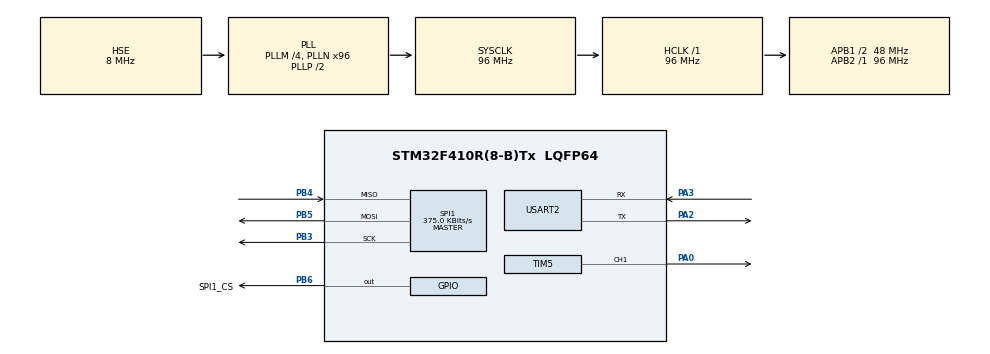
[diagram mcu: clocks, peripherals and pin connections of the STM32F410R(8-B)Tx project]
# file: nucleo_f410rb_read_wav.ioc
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Dma.Request0=SPI1_RX
Dma.Request1=SPI1_TX
Dma.Request2=TIM5_CH1
Dma.SPI1_RX.0.Direction=DMA_PERIPH_TO_MEMORY
Dma.SPI1_RX.0.FIFOMode=DMA_FIFOMODE_DISABLE
Dma.SPI1_RX.0.Instance=DMA2_Stream2
Dma.SPI1_RX.0.MemDataAlignment=DMA_MDATAALIGN_BYTE
Dma.SPI1_RX.0.MemInc=DMA_MINC_ENABLE
Dma.SPI1_RX.0.Mode=DMA_NORMAL
Dma.SPI1_RX.0.PeriphDataAlignment=DMA_PDATAALIGN_BYTE
Dma.SPI1_RX.0.PeriphInc=DMA_PINC_DISABLE
Dma.SPI1_RX.0.Priority=DMA_PRIORITY_HIGH
Dma.SPI1_TX.1.Direction=DMA_MEMORY_TO_PERIPH
Dma.SPI1_TX.1.FIFOMode=DMA_FIFOMODE_DISABLE
Dma.SPI1_TX.1.Instance=DMA2_Stream3
Dma.SPI1_TX.1.MemDataAlignment=DMA_MDATAALIGN_BYTE
Dma.SPI1_TX.1.MemInc=DMA_MINC_ENABLE
Dma.SPI1_TX.1.Mode=DMA_NORMAL
Dma.SPI1_TX.1.PeriphDataAlignment=DMA_PDATAALIGN_BYTE
Dma.SPI1_TX.1.PeriphInc=DMA_PINC_DISABLE
Dma.SPI1_TX.1.Priority=DMA_PRIORITY_LOW
Dma.TIM5_CH1.2.Direction=DMA_MEMORY_TO_PERIPH
Dma.TIM5_CH1.2.FIFOMode=DMA_FIFOMODE_DISABLE
Dma.TIM5_CH1.2.Instance=DMA1_Stream2
Dma.TIM5_CH1.2.MemDataAlignment=DMA_MDATAALIGN_WORD
Dma.TIM5_CH1.2.MemInc=DMA_MINC_ENABLE
Dma.TIM5_CH1.2.Mode=DMA_CIRCULAR
Dma.TIM5_CH1.2.PeriphDataAlignment=DMA_PDATAALIGN_WORD
Dma.TIM5_CH1.2.PeriphInc=DMA_PINC_DISABLE
Dma.TIM5_CH1.2.Priority=DMA_PRIORITY_LOW
FATFS._USE_LABEL=1
FATFS._USE_LFN=1
Mcu.Family=STM32F4
Mcu.Name=STM32F410R(8-B)Tx
Mcu.Package=LQFP64
NVIC.DMA1_Stream2_IRQn=true\:0\:0\:false\:false\:true\:false\:true\:true
NVIC.DMA2_Stream2_IRQn=true\:0\:0\:false\:false\:true\:false\:true\:true
NVIC.DMA2_Stream3_IRQn=true\:0\:0\:false\:false\:true\:false\:true\:true
NVIC.PriorityGroup=NVIC_PRIORITYGROUP_4
NVIC.SPI1_IRQn=true\:0\:0\:false\:false\:true\:true\:true\:true
NVIC.TIM5_IRQn=true\:0\:0\:false\:false\:true\:true\:true\:true
NVIC.USART2_IRQn=true\:0\:0\:false\:false\:true\:false\:true\:true
PA0-WKUP.GPIO_Speed=GPIO_SPEED_FREQ_HIGH
PA0-WKUP.Signal=S_TIM5_CH1
PA13.Mode=Serial_Wire
PA13.Signal=SYS_JTMS-SWDIO
PA14.Mode=Serial_Wire
PA14.Signal=SYS_JTCK-SWCLK
PA2.Mode=Asynchronous
PA2.Signal=USART2_TX
PA3.Mode=Asynchronous
PA3.Signal=USART2_RX
PB3.Mode=Full_Duplex_Master
PB3.Signal=SPI1_SCK
PB4.Mode=Full_Duplex_Master
PB4.Signal=SPI1_MISO
PB5.Mode=Full_Duplex_Master
PB5.Signal=SPI1_MOSI
PB6.GPIO_Label=SPI1_CS
PB6.GPIO_Speed=GPIO_SPEED_FREQ_VERY_HIGH
PB6.PinState=GPIO_PIN_SET
PB6.Signal=GPIO_Output
PH0\ -\ OSC_IN.Mode=HSE-External-Oscillator
PH0\ -\ OSC_IN.Signal=RCC_OSC_IN
PH1\ -\ OSC_OUT.Mode=HSE-External-Oscillator
PH1\ -\ OSC_OUT.Signal=RCC_OSC_OUT
ProjectManager.HeapSize=0x200
ProjectManager.StackSize=0x400
ProjectManager.TargetToolchain=STM32CubeIDE
RCC.48MHZClocksFreq_Value=48000000
RCC.AHBFreq_Value=96000000
RCC.APB1CLKDivider=RCC_HCLK_DIV2
RCC.APB1Freq_Value=48000000
RCC.APB1TimFreq_Value=96000000
RCC.APB2Freq_Value=96000000
RCC.APB2TimFreq_Value=96000000
RCC.CortexFreq_Value=96000000
RCC.HCLKFreq_Value=96000000
RCC.HSE_VALUE=8000000
RCC.HSI_VALUE=16000000
RCC.LSE_VALUE=32768
RCC.PLLM=4
RCC.PLLN=96
RCC.PLLSourceVirtual=RCC_PLLSOURCE_HSE
RCC.SYSCLKFreq_VALUE=96000000
RCC.SYSCLKSource=RCC_SYSCLKSOURCE_PLLCLK
RCC.VCOOutputFreq_Value=192000000
SH.S_TIM5_CH1.0=TIM5_CH1,PWM Generation1 CH1
SPI1.BaudRatePrescaler=SPI_BAUDRATEPRESCALER_256
SPI1.CalculateBaudRate=375.0 KBits/s
SPI1.Direction=SPI_DIRECTION_2LINES
SPI1.Mode=SPI_MODE_MASTER
SPI1.VirtualType=VM_MASTER
TIM5.AutoReloadPreload=TIM_AUTORELOAD_PRELOAD_DISABLE
TIM5.Channel-PWM\ Generation1\ CH1=TIM_CHANNEL_1
TIM5.Period=2000-1
TIM5.Prescaler=1-1
USART2.VirtualMode=VM_ASYNC
VP_FATFS_VS_Generic.Mode=User_defined
board=custom

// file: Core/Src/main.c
/* USER CODE BEGIN Header */
/**
  ******************************************************************************
  * @file           : main.c
  * @brief          : Main program body
  ******************************************************************************
  * @attention
  *
  * Copyright (c) 2026 STMicroelectronics.
  * All rights reserved.
  *
  * This software is licensed under terms that can be found in the LICENSE file
  * in the root directory of this software component.
  * If no LICENSE file comes with this software, it is provided AS-IS.
  *
  ******************************************************************************
  */
/* USER CODE END Header */
#include "main.h"
#include "fatfs.h"

/* USER CODE BEGIN Includes */
#include <stdio.h>
#include <string.h>
#include <stdlib.h>

#include "ff.h"
#include "ffconf.h"

#include "sd_diskio_spi.h"
#include "sd_functions.h"
#include "sd_spi.h"

#include "sd_wav.h"

/* USER CODE END Includes */

SPI_HandleTypeDef hspi1;
DMA_HandleTypeDef hdma_spi1_rx;
DMA_HandleTypeDef hdma_spi1_tx;

TIM_HandleTypeDef htim5;
DMA_HandleTypeDef hdma_tim5_ch1;

UART_HandleTypeDef huart2;

/* USER CODE BEGIN PV */
uint8_t riff_header_chunk[12];

uint8_t chunk_id[4];
uint8_t chunk_size[4]; // Array to store chunk size in little-endian mode

// Decimal representations
uint32_t file_size_dec;    	   // Total file size
uint32_t fmt_size_dec;         // fmt chunk size
uint32_t data_size_dec;        // data chunk size
uint32_t chunk_size_dec;       // Chunk size
uint16_t channels_dec;         // Number of channels
uint32_t sample_rate_dec;      // Sample rate
uint32_t byte_rate_dec;        // Byte rate
uint16_t block_align_dec;      // Block align
uint16_t bytes_per_sample_dec; // Bytes per sample = sample depth / 8

uint8_t audio_fmt[2];
uint8_t channels[2];
uint8_t sample_rate[4];
uint8_t byte_rate[4];
uint8_t block_align[2];
uint8_t sample_depth[2];

const uint8_t exp_fmt[4] = {0x66, 0x6D, 0x74, 0x20};    // "fmt "
const uint8_t exp_data[4] = {0x64, 0x61, 0x74, 0x61};   // "data"
const uint32_t exp_fmt_sz_dec = 16;                  // 16 for standard PCM WAV
const uint8_t exp_audio_fmt[2] = {0x01, 0x00};          // 1 for standard PCM WAV
const uint8_t stereo[2] = {0x02, 0x00};                 // 2 for stereo

uint8_t bufr[12288];          // Array to store PCM data immediately from SD card, give 8 KiB = 8192 B of space
uint32_t ccr[3072];           // Array to store CCR values. The PWM function requires CCR to be a 32-bit integer to work properly.
uint32_t data_bytes_read = 0; // Variable to store the number of bytes read from the data chunk
uint32_t skip = 12;       	  // RIFF chunk is size 12 so this first initialised value skips to the chunk after RIFF
uint32_t skip_fmt = 0;  	  // skip variable to record down the start of the fmt chunk's useful data
uint32_t skip_data = 0; 	  // skip variable to record down the start of the data chunk's useful data
uint32_t ARR;                 // Variable to store ARR value

UINT br;

FIL file; // File variable
const char filename[255] = "dont_stop_believin.wav"; // Music file name
FRESULT res; // Result of file operations with FATFS. Mostly useful for debugging.

// Define an enumeration variable which will tell the code to refill the first or second half of the bufr/ccr array.
// refill_request needs to be volatile because it will be accessed by the interrupt
// This prevents the compiler from trying to cache refill_request in order to "optimise speed"
// volatile forces the compiler to check the original memory location whenever we need refill_request instead of caching it.
enum refill_t {
	REFILL_NONE, REFILL_FIRST, REFILL_SECOND
};

volatile enum refill_t refill_request = REFILL_NONE;

/* USER CODE END PV */

void SystemClock_Config(void);
static void MX_GPIO_Init(void);
static void MX_DMA_Init(void);
static void MX_SPI1_Init(void);
static void MX_USART2_UART_Init(void);
static void MX_TIM5_Init(void);

/* USER CODE BEGIN 0 */
// Define a custom function to print to the console via UART
int _write(int fd, unsigned char *buf, int len) {
  if (fd == 1 || fd == 2) {                     // stdout or stderr ?
    HAL_UART_Transmit(&huart2, buf, len, 999);  // Print to the UART
  }
  return len;
}

// Define a function to convert a little-endian (le) byte string into the correct integer representation
static int32_t pcm_le_signed32(uint8_t *bufr, uint16_t bytes_per_sample_dec)
{
	// Case 8 bits sample depth. We can deal with converting unsigned 8 bit to signed 32 bit directly.
	// We want it to actually be 32 bit signed
	// Converting an unsigned to signed is simply a matter of shifting the offset
	if (bytes_per_sample_dec == 1)
	{
		return (int32_t) bufr[0] - 128;
	}

	// Initialise a return variable which will typecast to change later
	// temp is not yet the PCM amplitude
	// But the RETURNED value is the PCM amplitude
	uint32_t temp = 0;

	for (int k = 0; k < bytes_per_sample_dec; k++)
	{
		// Left shift the bytes accordingly
		temp |= (uint32_t) bufr[k] << (8 * k);
	}

	// Case 16 bits sample depth. Simply re-interpret the buffer contents as a 32 bit signed integer
	if (bytes_per_sample_dec == 2)
	{
		return (int32_t) (int16_t) temp;
	}

	// Case 24 bits sample depth. There is no int24_t so we have to do this manually
	// Check if the sign bit is set in a would-have-been signed 24 bit representation
	if (temp & 0x00800000) // 0x00800000 is 00000000 10000000 00000000 00000000
	{
		// If so, we simply ensure the most significant byte is full of 1 bits to get the correct signed 32 bit representation
		temp |= 0xFF000000;
	}

	return (int32_t) temp;
}

// Define a function to convert PCM amplitude to CCR value. CCR/ARR = CCR/2000 is the duty cycle.
// ARR defines the number of duty cycle levels available, and thus the resolution.
// Since PWM frequency is 48 kHz, and it is given by f_pwm = (APB TIM1 Clock)/(Prescaler * ARR), ARR cannot be too big so 2000 is the highest practical limit
// Hence only need to store CCR as a uint16_t.
static uint32_t pcm_to_ccr(int32_t pcm_amp, const uint32_t ARR, uint16_t bytes_per_sample_dec)
{
	// Find the maximum possible (signed) amplitude for each sample depth
	int32_t max_amp = (1 << (bytes_per_sample_dec * 8 - 1)) - 1;

	// A signed integer's range is [-(max_amp + 1), max_amp]
	// So we need to shift it up to [0, 2*max_amp + 1], i.e. shift all upwards by max_amp + 1
	int64_t centred_pcm_amp = (int64_t) pcm_amp + max_amp + 1;

	// Finally, scale the centered_pcm_amp to the ARR
	// CCR = centered_pcm_amp/(2*max_amp + 1) * ARR
	int64_t ccr = (centred_pcm_amp * ARR)/(2*max_amp + 1);

	return (uint32_t) ccr;
}

// Define a function to repeatedly call to read PCM data from the SD card
// When doing this, we cannot keep calling sd_wav_read because that function increases user readability but it's slow
// It has to open and close the file each time it's called, which is not efficient
// So for this, just have all the FATFS functions here in main.c
// Have f_lseek and f_read in process_pcm, and f_open and f_close in main function
static void process_pcm(uint8_t mode, const uint32_t ARR) {

	uint32_t samples = 0;    // Variable to store the number of PCM samples in the buffer to process
	uint16_t sample_idx = 0; // Variable to store the current sample index among the data in the buffer array

	// Ensure we are not near the end of the file yet
	if ((data_bytes_read + (sizeof(bufr)/2)) > data_size_dec)
	{
		// Special case for reading the end of the file
		uint32_t bytes_left = data_size_dec - data_bytes_read;

		// If this happens when we are trying to edit the first half of the buffer and ccr
		if (mode == 1)
		{
			// Only add audio data to the beginning parts of the buffer
			res = f_lseek(&file, skip_data);

			res = f_read(&file, bufr, bytes_left, &br);
			if (res != FR_OK) {
				printf("f_read failed with code: %d\r\n", res);
				f_close(&file);
				return;
			}

			data_bytes_read += bytes_left;
			skip_data += bytes_left;

			// But the end parts of the buffer still have data from the previous iteration
			// So just replace them zeros
			for (int i = bytes_left; i < (sizeof(bufr) / 2); i++)
			{
				bufr[i] = 0;
			}

			samples = sizeof(bufr) / 2 / block_align_dec;

			// We first convert each set of <no. of channels * sample depth> bytes into one (signed) integer representing a mono audio voltage

			// The key is that in the buffer, element starts that are divisible by block align are left audio
			// Element starts that are not divisible by block align are right audio
			// And then of course, bear in mind the sample depth which determines how many bytes/elements to encode one left/right sample

			// Loop across each sample, joint between left and right
			// i is the sample number
			for (int i = 0; i < samples; i++)
			{
				sample_idx = i * block_align_dec;

				// Consider both the left and right samples
				int32_t left  = pcm_le_signed32(&bufr[sample_idx], bytes_per_sample_dec);
				int32_t right = pcm_le_signed32(&bufr[sample_idx + bytes_per_sample_dec], bytes_per_sample_dec);

				// Calculate average of the left and right.
				int32_t pcm_amp = (int32_t)(((int64_t)left + (int64_t)right) / 2);

				// B. We then convert the PCM samples into CCR values
				ccr[i] = pcm_to_ccr(pcm_amp, ARR, bytes_per_sample_dec);
			}

		} else if (mode == 2)
		{
			// Only add audio data to the beginning parts of the buffer
			res = f_lseek(&file, skip_data);

			res = f_read(&file, bufr + (sizeof(bufr)/2), bytes_left, &br);
			if (res != FR_OK) {
				printf("f_read failed with code: %d\r\n", res);
				f_close(&file);
				return;
			}

			data_bytes_read += bytes_left;
			skip_data += bytes_left;

			// But the end parts of the buffer still have data from the previous iteration
			// So just replace them zeros
			for (int i = bytes_left; i < (sizeof(bufr) / 2); i++)
			{
				bufr[i + (sizeof(bufr)/2)] = 0;
			}

			samples = sizeof(bufr) / 2 / block_align_dec;

			// We first convert each set of <no. of channels * sample depth> bytes into one (signed) integer representing a mono audio voltage

			// The key is that in the buffer, element starts that are divisible by block align are left audio
			// Element starts that are not divisible by block align are right audio
			// And then of course, bear in mind the sample depth which determines how many bytes/elements to encode one left/right sample

			// Loop across each sample, joint between left and right
			// i is the sample number
			for (int i = 0; i < samples; i++)
			{
				sample_idx = i * block_align_dec;

				// Consider both the left and right samples
				int32_t left  = pcm_le_signed32(&bufr[sample_idx] + (sizeof(bufr)/2), bytes_per_sample_dec);
				int32_t right = pcm_le_signed32(&bufr[sample_idx + bytes_per_sample_dec] + (sizeof(bufr)/2), bytes_per_sample_dec);

				// Calculate average of the left and right.
				int32_t pcm_amp = (int32_t)(((int64_t)left + (int64_t)right) / 2);

				// B. We then convert the PCM samples into CCR values
				// + samples to only edit the second half
				ccr[i + samples] = pcm_to_ccr(pcm_amp, ARR, bytes_per_sample_dec);
			}
		}
	} else
	{
		// Mode 1 = Case of wanting to replace the first half of the buffer, called by HalfCpltCallback or initial call
		if (mode == 1) {
			res = f_lseek(&file, skip_data);

			res = f_read(&file, bufr, sizeof(bufr)/2, &br);
			if (res != FR_OK) {
				printf("f_read failed with code: %d\r\n", res);
				f_close(&file);
				return;
			}

			data_bytes_read += sizeof(bufr)/2;
			skip_data += sizeof(bufr)/2;

			samples = sizeof(bufr) / 2 / block_align_dec;

			// We first convert each set of <no. of channels * sample depth> bytes into one (signed) integer representing a mono audio voltage

			// The key is that in the buffer, element starts that are divisible by block align are left audio
			// Element starts that are not divisible by block align are right audio
			// And then of course, bear in mind the sample depth which determines how many bytes/elements to encode one left/right sample

			// Loop across each sample, joint between left and right
			// i is the sample number
			for (int i = 0; i < samples; i++)
			{
				sample_idx = i * block_align_dec;

				// Consider both the left and right samples
				int32_t left  = pcm_le_signed32(&bufr[sample_idx], bytes_per_sample_dec);
				int32_t right = pcm_le_signed32(&bufr[sample_idx + bytes_per_sample_dec], bytes_per_sample_dec);

				// Calculate average of the left and right.
				int32_t pcm_amp = (int32_t)(((int64_t)left + (int64_t)right) / 2);

				// B. We then convert the PCM samples into CCR values
				ccr[i] = pcm_to_ccr(pcm_amp, ARR, bytes_per_sample_dec);
			}

		// Mode 2 = Case of wanting to replace the second half of the buffer, called by CpltCallback or initial call
		} else if (mode == 2) {
			// + (sizeof(bufr)/2) to only edit the second half
			res = f_lseek(&file, skip_data);

			res = f_read(&file, bufr + (sizeof(bufr)/2), sizeof(bufr)/2, &br);
			if (res != FR_OK) {
				printf("f_read failed with code: %d\r\n", res);
				f_close(&file);
				return;
			}

			data_bytes_read += sizeof(bufr)/2;
			skip_data += sizeof(bufr)/2;

			samples = sizeof(bufr) / 2 / block_align_dec;

			// We first convert each set of <no. of channels * sample depth> bytes into one (signed) integer representing a mono audio voltage

			// The key is that in the buffer, element starts that are divisible by block align are left audio
			// Element starts that are not divisible by block align are right audio
			// And then of course, bear in mind the sample depth which determines how many bytes/elements to encode one left/right sample

			// Loop across each sample, joint between left and right
			// i is the sample number
			for (int i = 0; i < samples; i++)
			{
				sample_idx = i * block_align_dec;

				// Consider both the left and right samples
				int32_t left  = pcm_le_signed32(&bufr[sample_idx] + (sizeof(bufr)/2), bytes_per_sample_dec);
				int32_t right = pcm_le_signed32(&bufr[sample_idx + bytes_per_sample_dec] + (sizeof(bufr)/2), bytes_per_sample_dec);

				// Calculate average of the left and right.
				int32_t pcm_amp = (int32_t)(((int64_t)left + (int64_t)right) / 2);

				// B. We then convert the PCM samples into CCR values
				// + samples to only edit the second half
				ccr[i + samples] = pcm_to_ccr(pcm_amp, ARR, bytes_per_sample_dec);
			}
		}
	}
}

// Function called when first half of the array has been transmitted to PWM
// We thus need to change the contents of the first half of the buffer and ccr
void HAL_TIM_PWM_PulseFinishedHalfCpltCallback (TIM_HandleTypeDef * htim) {
	if (htim->Instance == TIM5)
	{
		refill_request = REFILL_FIRST;
	}

}

// Function called when all of the array, and therefore the second half of the array, has been transmitted to PWM
// We thus need to change the contents of the second half of the buffer and ccr
void HAL_TIM_PWM_PulseFinishedCallback (TIM_HandleTypeDef * htim) {
	if (htim->Instance == TIM5)
	{
		refill_request = REFILL_SECOND;
	}
}

/* USER CODE END 0 */

int main(void)
{

  /* MCU Configuration--------------------------------------------------------*/

  /* Reset of all peripherals, Initializes the Flash interface and the Systick. */
  HAL_Init();

  /* Configure the system clock */
  SystemClock_Config();

  /* Initialize all configured peripherals */
  MX_GPIO_Init();
  MX_DMA_Init();
  MX_SPI1_Init();
  MX_USART2_UART_Init();
//  MX_FATFS_Init();
  MX_TIM5_Init();
  /* USER CODE BEGIN 2 */

  // This is where we change the Baud Rate Prescaler to make the SD card read/write speed faster

	// Temporarily disable the SPI if we want to change the baud rate
	__HAL_SPI_DISABLE(&hspi1);

	// Reduce the prescaler to increase the baud rate
	// If we want to send PWM signals at 48 kHz (which is equal to the sample rate)
	// And if one sample is 4 bytes (2 bytes for left and 2 bytes for right channel)
	// Then we need to read the SD card at an SPI baud rate of 192 KBps = 1.536 Mbps
	// Since SPI1 takes clock from APB2 which is 96 MHz/96 Mbps, the maximum prescaler according to APB2/prescaler = SPI baud rate
	// is 62.5. So we can have at most prescaler of 32.
	// However, this isn't exactly linear as there is also the time needed to tell the SD card that we would like to read, etc.
	// So lowest prescaler as possible is best. Prescaler 8 chosen because it seems beyond this is too fast.
	MODIFY_REG(hspi1.Instance->CR1, SPI_CR1_BR, SPI_BAUDRATEPRESCALER_8);

	// Re-enable the SPI
	__HAL_SPI_ENABLE(&hspi1);

  // 0. Initialise reading wav file
  // Read first 12 bytes.
  sd_mount();
  sd_wav_init(filename, riff_header_chunk, sizeof(riff_header_chunk), &br);

  // Ensure it is RIFF....WAVE
  // Because array slicing doesn't exist in C, it is a hassle to use memcmp to verify the riff_header_chunk contents
  // So just use "brute force"
  if (riff_header_chunk[0]  != 0x52 || // R
	  riff_header_chunk[1]  != 0x49 || // I
	  riff_header_chunk[2]  != 0x46 || // F
	  riff_header_chunk[3]  != 0x46 || // F
	  riff_header_chunk[8]  != 0x57 || // W
	  riff_header_chunk[9]  != 0x41 || // A
	  riff_header_chunk[10] != 0x56 || // V
	  riff_header_chunk[11] != 0x45)   // E
  {
	  printf("Only .wav files permitted.\r\n");
	  return 1;
  } else printf("Valid .wav file. Step 0 success.\r\n\n");

  // 1. Determine the file size. This is useful to compare against the skip variable later to know when we reach file end
  // File size in bytes is the elements 4 through 7 of riff_header_chunk, in little-endian mode, plus 8.
  file_size_dec = (((uint32_t) riff_header_chunk[4])       |
			  	  ((uint32_t) riff_header_chunk[5] << 8)  |
				  ((uint32_t) riff_header_chunk[6] << 16) |
				  ((uint32_t) riff_header_chunk[7] << 24)) +
				  8;
  printf("File size determined. Step 1 success.\r\n\n");

  ARR = __HAL_TIM_GET_AUTORELOAD(&htim5);

  // 2. Find the fmt and data chunks
  while (skip < file_size_dec)
  {
	  // Read the next 4 bytes which is the chunk identifier
	  sd_wav_read(filename, chunk_id, sizeof(chunk_id), skip, &br);
	  skip += (uint32_t) sizeof(chunk_id); // Progress the skip value

	  // Read the next 4 bytes which is the chunk size
	  sd_wav_read(filename, chunk_size, sizeof(chunk_size), skip, &br);
	  skip += (uint32_t) sizeof(chunk_size); // Progress the skip value
	  chunk_size_dec = ((uint32_t) chunk_size[0])       |
					   ((uint32_t) chunk_size[1] << 8)  |
					   ((uint32_t) chunk_size[2] << 16) |
					   ((uint32_t) chunk_size[3] << 24); // Little-endian: the first byte is actually the least significant byte!

	  // Detect where the fmt chunk is
	  if (memcmp(chunk_id, exp_fmt, (int) sizeof(exp_fmt)) == 0)
	  {
		  printf("Found FORMAT chunk.\r\n");
		  skip_fmt = skip;
		  fmt_size_dec = chunk_size_dec;
	  }
	  // Detect where the data chunk is
	  else if (memcmp(chunk_id, exp_data, (int) sizeof(exp_data)) == 0)
	  {
		  printf("Found DATA chunk.\r\n");
		  skip_data = skip;
		  data_size_dec = chunk_size_dec;
	  }
	  // Skip any other chunk
	  else
	  {
		  printf("Skipped %4s chunk.\r\n", chunk_id);
	  }

	  skip += chunk_size_dec;

	  if ((skip_fmt != 0) && (skip_data != 0))
	  {
		  printf("Relevant chunks detected. Step 2 success.\r\n\n");
		  break;
	  }
  }

  // 3. Process the fmt chunk
  printf("Processing FORMAT chunk...\r\n");

  // Verify chunk size = 16 for PCM WAV (i.e., standard, uncompressed PCM WAV)
  if (fmt_size_dec != exp_fmt_sz_dec)
  {
	  printf("Given .wav file not standard PCM.\r\n");
	  return 2;
  }

  // Read the next 2 bytes. This is the "audio format". Verify it is 1 for standard, uncompressed PCM WAV
  sd_wav_read(filename, audio_fmt, sizeof(audio_fmt), skip_fmt, &br);
  skip_fmt += (uint32_t) sizeof(audio_fmt); // Progress the skip value
  if (memcmp(audio_fmt, exp_audio_fmt, sizeof(exp_audio_fmt)) != 0)
  {
	  printf("Given .wav file not standard PCM.\r\n");
	  return 3;
  }

  // Read the next 2 bytes. This is the number of channels. Verify it is 2 (only support stereo)
  sd_wav_read(filename, channels, sizeof(channels), skip_fmt, &br);
  skip_fmt += (uint32_t) sizeof(channels); // Progress the skip value
  if (memcmp(channels, stereo, sizeof(stereo)) != 0)
  {
	  printf("Given .wav file not stereo.\r\n");
	  return 4;
  }
  channels_dec = ((uint32_t) channels[0])       |
				 ((uint32_t) channels[1] << 8);

  // Read the next 4 bytes. This is the sample rate (in Hz)
  sd_wav_read(filename, sample_rate, sizeof(sample_rate), skip_fmt, &br);
  skip_fmt += (uint32_t) sizeof(sample_rate); // Progress the skip value
  sample_rate_dec = ((uint32_t) sample_rate[0])       |
					((uint32_t) sample_rate[1] << 8)  |
					((uint32_t) sample_rate[2] << 16) |
					((uint32_t) sample_rate[3] << 24);

  // Read the next 4 bytes. This is the byte rate (in Bps)
  sd_wav_read(filename, byte_rate, sizeof(byte_rate), skip_fmt, &br);
  skip_fmt += (uint32_t) sizeof(byte_rate); // Progress the skip value
  byte_rate_dec = ((uint32_t) byte_rate[0])       |
				  ((uint32_t) byte_rate[1] << 8)  |
				  ((uint32_t) byte_rate[2] << 16) |
				  ((uint32_t) byte_rate[3] << 24);

  // Read the next 2 bytes. This is the block align (in bytes per block)
  sd_wav_read(filename, block_align, sizeof(block_align), skip_fmt, &br);
  skip_fmt += (uint32_t) sizeof(block_align); // Progress the skip value
  block_align_dec = ((uint32_t) block_align[0])       |
					((uint32_t) block_align[1] << 8);

  // Read the next 2 bytes. This is the sample depth (in bits). Then divide by 8 to get bytes per sample
  sd_wav_read(filename, sample_depth, sizeof(sample_depth), skip_fmt, &br);
  skip_fmt += (uint32_t) sizeof(sample_depth); // Progress the skip value
  bytes_per_sample_dec = (((uint32_t) sample_depth[0])      |
						 ((uint32_t) sample_depth[1] << 8)) /
						 8;

  // We will not support 32-bit or more sample depth files because those are uncommon and require a bit more code
  if (bytes_per_sample_dec >= 4)
  {
	  printf("Sample depth %u bits too large and unsupported. Must be 8, 16, or 24.", bytes_per_sample_dec);
	  return 5;
  }

  // Finish processing fmt chunk
  printf("FORMAT chunk processed. Step 3 success.\r\n\n");

  // 4. Process the data chunk
  printf("Processing DATA chunk...\r\n");

  // 4a. Open the file
  FRESULT res = f_open(&file, filename, FA_READ);
  if (res != FR_OK) {
	  printf("f_open failed with code: %d\r\n", res);
	  return res;
  }

  // 4a. Read the first 8192 bytes of data
  process_pcm(1, ARR);
  process_pcm(2, ARR);

  // 4b. Send to PWM
  // Actually, if audio was stereo to begin with, you'll only use half of the CCR array
  HAL_TIM_PWM_Start_DMA(&htim5, TIM_CHANNEL_1, (uint32_t *)ccr, sizeof(ccr) / sizeof(ccr[0]));

  /* USER CODE END 2 */

  /* Infinite loop */
  while (1)
  {

    /* USER CODE BEGIN 3 */
	  if (data_bytes_read < data_size_dec)
	  {
		  if (refill_request == REFILL_FIRST)
		  	  {
			  	  refill_request = REFILL_NONE;
				  process_pcm(1, ARR);
		      } else if (refill_request == REFILL_SECOND)
			  {
			      refill_request = REFILL_NONE;
				  process_pcm(2, ARR);
			  }
	  } else if (data_bytes_read == data_size_dec)
	  {
		  	// You have now finished reading the PCM data
			HAL_TIM_PWM_Stop_DMA(&htim5, TIM_CHANNEL_1);

			res = f_close(&file);
			if (res != FR_OK) {
				printf("f_close failed with code: %d\r\n", res);
				return res;
			}

			sd_unmount();

			// Verify that we have read the entire data chunk upon unmount
			printf("Bytes of data read: %lu bytes\r\n", data_bytes_read);
			printf("Bytes of data actually there: %lu bytes \r\n", data_size_dec);
			printf("DATA chunk processed. Step 4 success.\r\n\n");

			data_bytes_read += 1;

			// Wait for interrupt
			__WFI();
	  }

  }
  /* USER CODE END 3 */
}

void SystemClock_Config(void)
{
  RCC_OscInitTypeDef RCC_OscInitStruct = {0};
  RCC_ClkInitTypeDef RCC_ClkInitStruct = {0};

  /** Configure the main internal regulator output voltage
  */
  __HAL_RCC_PWR_CLK_ENABLE();
  __HAL_PWR_VOLTAGESCALING_CONFIG(PWR_REGULATOR_VOLTAGE_SCALE1);

  /** Initializes the RCC Oscillators according to the specified parameters
  * in the RCC_OscInitTypeDef structure.
  */
  RCC_OscInitStruct.OscillatorType = RCC_OSCILLATORTYPE_HSE;
  RCC_OscInitStruct.HSEState = RCC_HSE_ON;
  RCC_OscInitStruct.PLL.PLLState = RCC_PLL_ON;
  RCC_OscInitStruct.PLL.PLLSource = RCC_PLLSOURCE_HSE;
  RCC_OscInitStruct.PLL.PLLM = 4;
  RCC_OscInitStruct.PLL.PLLN = 96;
  RCC_OscInitStruct.PLL.PLLP = RCC_PLLP_DIV2;
  RCC_OscInitStruct.PLL.PLLQ = 4;
  RCC_OscInitStruct.PLL.PLLR = 2;
  if (HAL_RCC_OscConfig(&RCC_OscInitStruct) != HAL_OK)
  {
    Error_Handler();
  }

  /** Initializes the CPU, AHB and APB buses clocks
  */
  RCC_ClkInitStruct.ClockType = RCC_CLOCKTYPE_HCLK|RCC_CLOCKTYPE_SYSCLK
                              |RCC_CLOCKTYPE_PCLK1|RCC_CLOCKTYPE_PCLK2;
  RCC_ClkInitStruct.SYSCLKSource = RCC_SYSCLKSOURCE_PLLCLK;
  RCC_ClkInitStruct.AHBCLKDivider = RCC_SYSCLK_DIV1;
  RCC_ClkInitStruct.APB1CLKDivider = RCC_HCLK_DIV2;
  RCC_ClkInitStruct.APB2CLKDivider = RCC_HCLK_DIV1;

  if (HAL_RCC_ClockConfig(&RCC_ClkInitStruct, FLASH_LATENCY_3) != HAL_OK)
  {
    Error_Handler();
  }
}

static void MX_SPI1_Init(void)
{

  /* SPI1 parameter configuration*/
  hspi1.Instance = SPI1;
  hspi1.Init.Mode = SPI_MODE_MASTER;
  hspi1.Init.Direction = SPI_DIRECTION_2LINES;
  hspi1.Init.DataSize = SPI_DATASIZE_8BIT;
  hspi1.Init.CLKPolarity = SPI_POLARITY_LOW;
  hspi1.Init.CLKPhase = SPI_PHASE_1EDGE;
  hspi1.Init.NSS = SPI_NSS_SOFT;
  hspi1.Init.BaudRatePrescaler = SPI_BAUDRATEPRESCALER_256;
  hspi1.Init.FirstBit = SPI_FIRSTBIT_MSB;
  hspi1.Init.TIMode = SPI_TIMODE_DISABLE;
  hspi1.Init.CRCCalculation = SPI_CRCCALCULATION_DISABLE;
  hspi1.Init.CRCPolynomial = 15;
  if (HAL_SPI_Init(&hspi1) != HAL_OK)
  {
    Error_Handler();
  }

}

static void MX_TIM5_Init(void)
{

  TIM_MasterConfigTypeDef sMasterConfig = {0};
  TIM_OC_InitTypeDef sConfigOC = {0};

  htim5.Instance = TIM5;
  htim5.Init.Prescaler = 1-1;
  htim5.Init.CounterMode = TIM_COUNTERMODE_UP;
  htim5.Init.Period = 2000-1;
  htim5.Init.ClockDivision = TIM_CLOCKDIVISION_DIV1;
  htim5.Init.AutoReloadPreload = TIM_AUTORELOAD_PRELOAD_DISABLE;
  if (HAL_TIM_PWM_Init(&htim5) != HAL_OK)
  {
    Error_Handler();
  }
  sMasterConfig.MasterOutputTrigger = TIM_TRGO_RESET;
  sMasterConfig.MasterSlaveMode = TIM_MASTERSLAVEMODE_DISABLE;
  if (HAL_TIMEx_MasterConfigSynchronization(&htim5, &sMasterConfig) != HAL_OK)
  {
    Error_Handler();
  }
  sConfigOC.OCMode = TIM_OCMODE_PWM1;
  sConfigOC.Pulse = 0;
  sConfigOC.OCPolarity = TIM_OCPOLARITY_HIGH;
  sConfigOC.OCFastMode = TIM_OCFAST_DISABLE;
  if (HAL_TIM_PWM_ConfigChannel(&htim5, &sConfigOC, TIM_CHANNEL_1) != HAL_OK)
  {
    Error_Handler();
  }
  HAL_TIM_MspPostInit(&htim5);

}

static void MX_USART2_UART_Init(void)
{

  huart2.Instance = USART2;
  huart2.Init.BaudRate = 115200;
  huart2.Init.WordLength = UART_WORDLENGTH_8B;
  huart2.Init.StopBits = UART_STOPBITS_1;
  huart2.Init.Parity = UART_PARITY_NONE;
  huart2.Init.Mode = UART_MODE_TX_RX;
  huart2.Init.HwFlowCtl = UART_HWCONTROL_NONE;
  huart2.Init.OverSampling = UART_OVERSAMPLING_16;
  if (HAL_UART_Init(&huart2) != HAL_OK)
  {
    Error_Handler();
  }

}

static void MX_DMA_Init(void)
{

  /* DMA controller clock enable */
  __HAL_RCC_DMA2_CLK_ENABLE();
  __HAL_RCC_DMA1_CLK_ENABLE();

  /* DMA interrupt init */
  /* DMA1_Stream2_IRQn interrupt configuration */
  HAL_NVIC_SetPriority(DMA1_Stream2_IRQn, 0, 0);
  HAL_NVIC_EnableIRQ(DMA1_Stream2_IRQn);
  /* DMA2_Stream2_IRQn interrupt configuration */
  HAL_NVIC_SetPriority(DMA2_Stream2_IRQn, 0, 0);
  HAL_NVIC_EnableIRQ(DMA2_Stream2_IRQn);
  /* DMA2_Stream3_IRQn interrupt configuration */
  HAL_NVIC_SetPriority(DMA2_Stream3_IRQn, 0, 0);
  HAL_NVIC_EnableIRQ(DMA2_Stream3_IRQn);

}

static void MX_GPIO_Init(void)
{
  GPIO_InitTypeDef GPIO_InitStruct = {0};

  /* GPIO Ports Clock Enable */
  __HAL_RCC_GPIOH_CLK_ENABLE();
  __HAL_RCC_GPIOA_CLK_ENABLE();
  __HAL_RCC_GPIOB_CLK_ENABLE();

  /*Configure GPIO pin Output Level */
  HAL_GPIO_WritePin(SPI1_CS_GPIO_Port, SPI1_CS_Pin, GPIO_PIN_SET);

  /*Configure GPIO pin : SPI1_CS_Pin */
  GPIO_InitStruct.Pin = SPI1_CS_Pin;
  GPIO_InitStruct.Mode = GPIO_MODE_OUTPUT_PP;
  GPIO_InitStruct.Pull = GPIO_NOPULL;
  GPIO_InitStruct.Speed = GPIO_SPEED_FREQ_VERY_HIGH;
  HAL_GPIO_Init(SPI1_CS_GPIO_Port, &GPIO_InitStruct);

}

void Error_Handler(void)
{
  __disable_irq();
  while (1)
  {
  }
}
